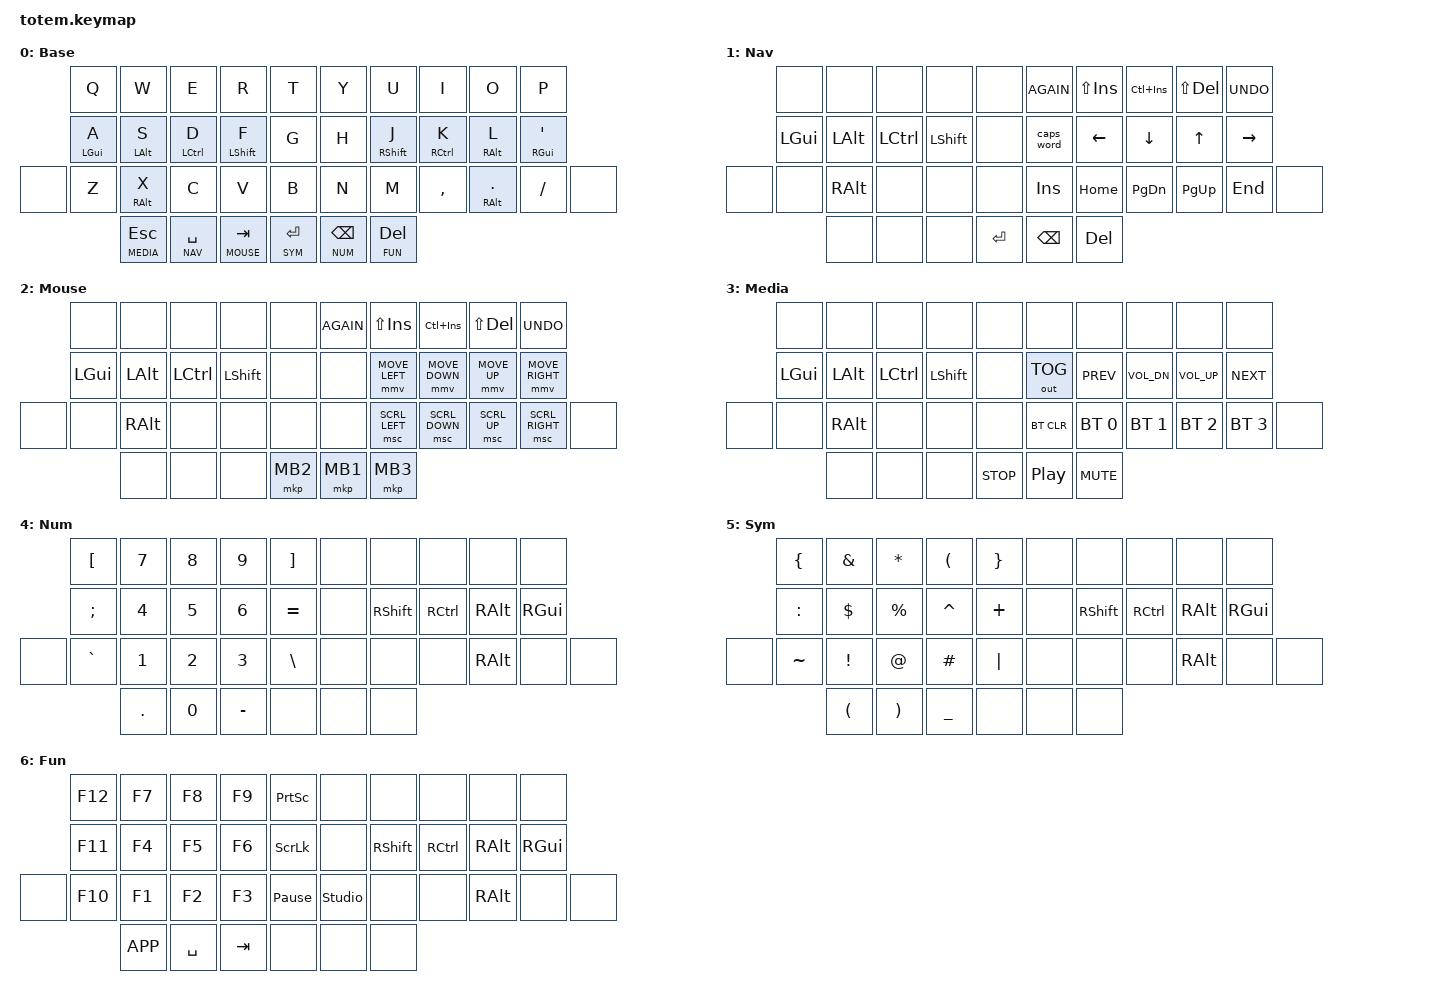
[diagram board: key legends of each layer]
/*
 * Copyright (c) 2022 The ZMK Contributors
 * SPDX-License-Identifier: MIT
 */

// Miryoku QWERTY for the TOTEM (38 keys)
// Layers: Base / Nav / Mouse / Media / Num / Sym / Fun
// Thumb keys (L>R): Esc/Media  Space/Nav  Tab/Mouse | Enter/Sym  Bksp/Num  Del/Fun
// Home-row mods (GACS): A=LGUI  S=LALT  D=LCTRL  F=LSHFT  (mirrored right)

#include <behaviors.dtsi>
#include <dt-bindings/zmk/keys.h>
#include <dt-bindings/zmk/bt.h>
#include <dt-bindings/zmk/outputs.h>
#include <dt-bindings/zmk/pointing.h>
#include <dt-bindings/zmk/battery_reporting.h>

#define BASE  0
#define NAV   1
#define MOUSE 2
#define MEDIA 3
#define NUM   4
#define SYM   5
#define FUN   6

// Clipboard (default X11/terminal)
#define U_RDO &kp K_AGAIN
#define U_PST &kp LS(INS)
#define U_CPY &kp LC(INS)
#define U_CUT &kp LS(DEL)
#define U_UND &kp K_UNDO

/ {
    behaviors {
        // Home-row mod-tap: hold-trigger restricted to opposite hand to prevent
        // accidental mod activation during same-hand rolls.
        hml: homerow_mod_left {
            compatible = "zmk,behavior-hold-tap";
            #binding-cells = <2>;
            flavor = "balanced";
            tapping-term-ms = <280>;
            quick-tap-ms = <175>;
            require-prior-idle-ms = <150>;
            bindings = <&kp>, <&kp>;
            hold-trigger-key-positions = <
                5  6  7  8  9
                15 16 17 18 19
                26 27 28 29 30 31
                35 36 37
            >;
            hold-trigger-on-release;
        };

        hmr: homerow_mod_right {
            compatible = "zmk,behavior-hold-tap";
            #binding-cells = <2>;
            flavor = "balanced";
            tapping-term-ms = <280>;
            quick-tap-ms = <175>;
            require-prior-idle-ms = <150>;
            bindings = <&kp>, <&kp>;
            hold-trigger-key-positions = <
                0  1  2  3  4
                10 11 12 13 14
                20 21 22 23 24 25
                32 33 34
            >;
            hold-trigger-on-release;
        };
    };

    keymap {
        compatible = "zmk,keymap";

        base_layer {
            display-name = "Base";
            bindings = <
                &kp Q          &kp W          &kp E          &kp R          &kp T               &kp Y          &kp U          &kp I          &kp O          &kp P
                &hml LGUI A    &hml LALT S    &hml LCTRL D   &hml LSHFT F   &kp G               &kp H          &hmr RSHFT J   &hmr RCTRL K   &hmr RALT L    &hmr RGUI SQT
    &none       &kp Z          &mt RALT X     &kp C          &kp V          &kp B               &kp N          &kp M          &kp COMMA      &mt RALT DOT   &kp FSLH       &none
                               &lt MEDIA ESC  &lt NAV SPC    &lt MOUSE TAB  &lt SYM RET         &lt NUM BSPC   &lt FUN DEL
            >;
        };

        nav_layer {
            display-name = "Nav";
            bindings = <
                &none          &none          &none          &none          &none               U_RDO          U_PST          U_CPY          U_CUT          U_UND
                &kp LGUI       &kp LALT       &kp LCTRL      &kp LSHFT      &none               &caps_word     &kp LEFT       &kp DOWN       &kp UP         &kp RIGHT
    &none       &none          &kp RALT       &none          &none          &none               &kp INS        &kp HOME       &kp PG_DN      &kp PG_UP      &kp END        &none
                               &none          &none          &none          &kp RET             &kp BSPC       &kp DEL
            >;
        };

        mouse_layer {
            display-name = "Mouse";
            bindings = <
                &none          &none          &none          &none          &none               U_RDO          U_PST          U_CPY          U_CUT          U_UND
                &kp LGUI       &kp LALT       &kp LCTRL      &kp LSHFT      &none               &none          &mmv MOVE_LEFT &mmv MOVE_DOWN &mmv MOVE_UP   &mmv MOVE_RIGHT
    &none       &none          &kp RALT       &none          &none          &none               &none          &msc SCRL_LEFT &msc SCRL_DOWN &msc SCRL_UP   &msc SCRL_RIGHT &none
                               &none          &none          &none          &mkp MB2            &mkp MB1       &mkp MB3
            >;
        };

        media_layer {
            display-name = "Media";
            bindings = <
                &none          &none          &none          &none          &none               &none          &none          &none          &none          &none
                &kp LGUI       &kp LALT       &kp LCTRL      &kp LSHFT      &none               &out OUT_TOG   &kp C_PREV     &kp C_VOL_DN   &kp C_VOL_UP   &kp C_NEXT
    &none       &none          &kp RALT       &none          &none          &none               &bt BT_CLR     &bt BT_SEL 0   &bt BT_SEL 1   &bt BT_SEL 2   &bt BT_SEL 3   &none
                               &none          &none          &none          &kp C_STOP          &kp C_PP       &kp C_MUTE
            >;
        };

        num_layer {
            display-name = "Num";
            bindings = <
                &kp LBKT       &kp N7         &kp N8         &kp N9         &kp RBKT            &none          &none          &none          &none          &none
                &kp SEMI       &kp N4         &kp N5         &kp N6         &kp EQUAL           &none          &kp RSHFT      &kp RCTRL      &kp RALT       &kp RGUI
    &none       &kp GRAVE      &kp N1         &kp N2         &kp N3         &kp BSLH            &none          &none          &none          &kp RALT       &none          &none
                               &kp DOT        &kp N0         &kp MINUS      &none               &none          &none
            >;
        };

        sym_layer {
            display-name = "Sym";
            bindings = <
                &kp LBRC       &kp AMPS       &kp STAR       &kp LPAR       &kp RBRC            &none          &none          &none          &none          &none
                &kp COLON      &kp DLLR       &kp PRCNT      &kp CARET      &kp PLUS            &none          &kp RSHFT      &kp RCTRL      &kp RALT       &kp RGUI
    &none       &kp TILDE      &kp EXCL       &kp AT         &kp HASH       &kp PIPE            &none          &none          &none          &kp RALT       &none          &none
                               &kp LPAR       &kp RPAR       &kp UNDER      &none               &none          &none
            >;
        };

        fun_layer {
            display-name = "Fun";
            bindings = <
                &kp F12        &kp F7         &kp F8         &kp F9         &kp PSCRN           &none          &none          &none          &none          &none
                &kp F11        &kp F4         &kp F5         &kp F6         &kp SLCK            &none          &kp RSHFT      &kp RCTRL      &kp RALT       &kp RGUI
    &none       &kp F10        &kp F1         &kp F2         &kp F3         &kp PAUSE_BREAK     &studio_unlock &none          &none          &kp RALT       &none          &none
                               &kp K_APP      &kp SPC        &kp TAB        &none               &none          &none
            >;
        };

        reserved_1 { status = "reserved"; };
        reserved_2 { status = "reserved"; };
        reserved_3 { status = "reserved"; };
    };
};

/ {
    chosen {
        zmk,battery-reporting = &battery_reporting;
    };

    battery_reporting: battery_reporting {
        compatible = "zmk,battery-reporting";

        left {
            display-name = "TOTEM Left";
            cpf = <ZMK_CPF_DESC_LEFT>;
        };
        right {
            display-name = "TOTEM Right";
            cpf = <ZMK_CPF_DESC_RIGHT>;
        };
    };
};
